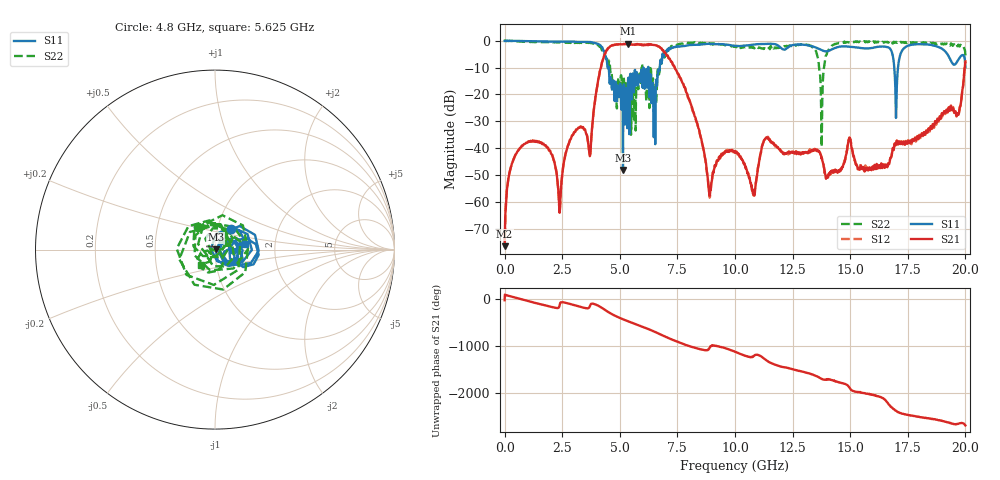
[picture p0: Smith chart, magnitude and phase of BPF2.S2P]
!Agilent Technologies,E5071C,MY46215201,A.10.06
!Date: Mon Jul 01 14:53:39 2019
!Data & Calibration Information:
!Freq	S11:SOLT2(ON)	S21:SOLT2(ON)	S12:SOLT2(ON)	S22:SOLT2(ON)
!PortZ  Port1:50+j0  Port2:50+j0
!Above PortZ is port z conversion or system Z0 setting when saving the data.
!When reading, reference impedance value at option line is always used.
# Hz S dB R 50
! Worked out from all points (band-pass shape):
!   1601 points, 300 kHz to 20 GHz, reference 50 ohm
!   highest |S21| = -1.10 dB at 5.35 GHz (marker M1); lowest = -76.6 dB at 300 kHz (marker M2)
!   |S21| within 3 dB of the highest: 4.39 GHz to 6.918 GHz (2.527 GHz wide, 44.7 % of centre)
!   lowest |S11| = -48.2 dB at 5.138 GHz (marker M3), VSWR 1.01, Z = 50.4 + j0.0874 ohm
!   |S11| at or under -10 dB: 4.517 GHz to 6.025 GHz (1.508 GHz wide, 28.6 % of centre); 6.027 GHz to 6.224 GHz (196.6 MHz wide, 3.21 % of centre); 6.241 GHz to 6.733 GHz (491.5 MHz wide, 7.58 % of centre)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
!   |S22| runs from -39.5 to 0.1 dB; largest |S21 - S12| = 0.019
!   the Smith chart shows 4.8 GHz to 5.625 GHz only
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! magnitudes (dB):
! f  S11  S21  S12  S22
! 300 kHz  0.0  -76.6  -71.6  0.0
! 650.3 MHz  0.0  -40.2  -40.1  -0.3
! 1.863 GHz  -0.3  -39.9  -39.7  -0.4
! 2.388 GHz  -0.3  -64.1  -64.2  -0.6
! 3.338 GHz  -0.4  -32.2  -32.3  -0.8
! 3.7 GHz  -0.4  -43.0  -43.1  -0.7
! 4.3 GHz  -3.7  -6.0  -6.0  -4.4
! 5.138 GHz  -48.2  -1.3  -1.3  -14.1
! 5.35 GHz  -16.1  -1.1  -1.1  -18.5
! 6.675 GHz  -10.7  -2.0  -2.1  -11.5
! 8.888 GHz  -1.1  -57.4  -57.4  -0.9
! 10 GHz  -1.9  -41.5  -41.6  -2.0
! 10.8 GHz  -1.4  -56.7  -57.6  -2.4
! 11.35 GHz  -1.2  -36.1  -36.1  -3.0
! 13.34 GHz  -2.0  -41.1  -41.2  -2.3
! 13.75 GHz  -3.4  -43.7  -43.3  -35.4
! 14.25 GHz  -3.0  -48.9  -48.6  -1.6
! 16.68 GHz  -2.5  -46.0  -46.0  -0.5
! 17 GHz  -25.4  -38.2  -37.8  -0.4
! 17.54 GHz  -1.7  -37.5  -37.7  -0.8
! 19.69 GHz  -7.1  -27.5  -27.8  -1.5
! 20 GHz  -9.9  -7.7  -7.8  -5.4
